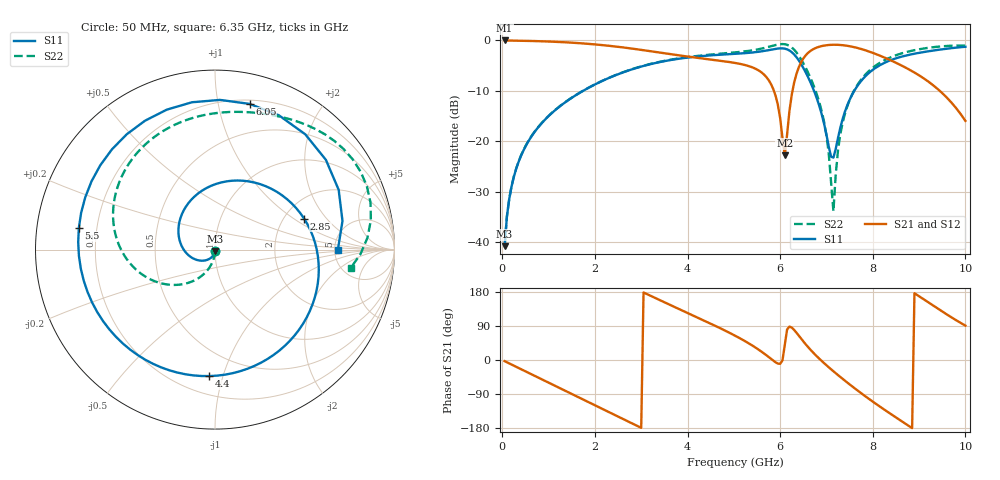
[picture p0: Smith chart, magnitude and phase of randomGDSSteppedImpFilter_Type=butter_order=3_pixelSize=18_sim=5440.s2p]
! freq	dB(S11)	phase(S11)	dB(S12)	phase(S12)
!  dB(S21)	phase(S21)	dB(S22)	phase(S22)
!S-par simulation data
#  GHz  S  DB  R 50
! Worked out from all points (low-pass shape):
!   200 points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, 50 MHz to 10 GHz, reference 50 ohm
!   highest |S21| = -0.01 dB at 50 MHz (marker M1); lowest = -22.8 dB at 6.1 GHz (marker M2)
!   |S21| within 3 dB of the highest: start of sweep to 3.849 GHz; 6.547 GHz to 8.151 GHz (1.603 GHz wide, 21.8 % of centre)
!   lowest |S11| = -40.8 dB at 50 MHz (marker M3), VSWR 1.02, Z = 49.9 - j0.908 ohm
!   |S11| at or under -10 dB: start of sweep to 1.744 GHz; 6.731 GHz to 7.6 GHz (869.4 MHz wide, 12.1 % of centre)
!   |S22| runs from -40.8 to -0.7 dB; largest |S21 - S12| = 0
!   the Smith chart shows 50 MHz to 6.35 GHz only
!   S11 on the Smith chart (normalised r, x): 50 MHz: 1.00, -0.02; 2.85 GHz: 2.55, +1.22; 4.4 GHz: 0.32, -0.90; 5.5 GHz: 0.13, +0.08; 6.05 GHz: 0.23, +1.24; 6.35 GHz: 5.33, -0.08
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0.05  -40.81 -93.4  -0.01 -3.0  -0.01 -3.0  -40.76 -90.2
0.2  -28.96 -108.1  -0.03 -12.0  -0.03 -12.0  -28.90 -95.4
0.5  -21.05 -136.0  -0.08 -29.9  -0.08 -29.9  -20.98 -104.7
1.75  -9.97 111.0  -0.60 -104.7  -0.60 -104.7  -9.95 -142.0
2.85  -5.59 19.2  -1.68 -170.2  -1.68 -170.2  -5.56 179.1
3.4  -4.29 -22.0  -2.41 158.1  -2.41 158.1  -4.24 157.3
4.4  -3.03 -92.5  -3.68 101.8  -3.68 101.8  -2.89 116.0
5.05  -2.64 -143.0  -4.50 62.7  -4.50 62.7  -2.35 88.3
5.5  -2.29 170.9  -5.77 30.2  -5.77 30.2  -1.80 67.5
5.8  -1.84 127.4  -8.61 3.3  -8.61 3.3  -1.16 49.9
6.05  -1.57 76.6  -19.35 -1.1  -19.35 -1.1  -0.72 28.2
6.1  -1.63 64.6  -22.77 40.0  -22.77 40.0  -0.75 22.6
6.35  -3.30 -0.3  -6.71 72.3  -6.71 72.3  -2.35 -7.7
6.7  -9.28 -75.6  -1.81 21.1  -1.81 21.1  -8.43 -40.3
7  -18.72 -103.3  -0.95 -13.9  -0.95 -13.9  -18.85 -55.1
7.15  -23.25 -58.4  -0.85 -29.7  -0.85 -29.7  -33.90 29.3
7.25  -19.31 -33.1  -0.87 -39.9  -0.87 -39.9  -21.71 84.8
7.45  -12.85 -37.8  -1.07 -59.6  -1.07 -59.6  -13.05 79.6
8.35  -4.05 -129.1  -3.79 -139.3  -3.79 -139.3  -3.49 25.2
9.05  -2.38 154.1  -7.22 164.1  -7.22 164.1  -1.68 -11.8
9.55  -1.70 96.6  -10.89 124.1  -10.89 124.1  -1.13 -37.0
10  -1.26 48.4  -15.95 90.8  -15.95 90.8  -1.03 -61.0
